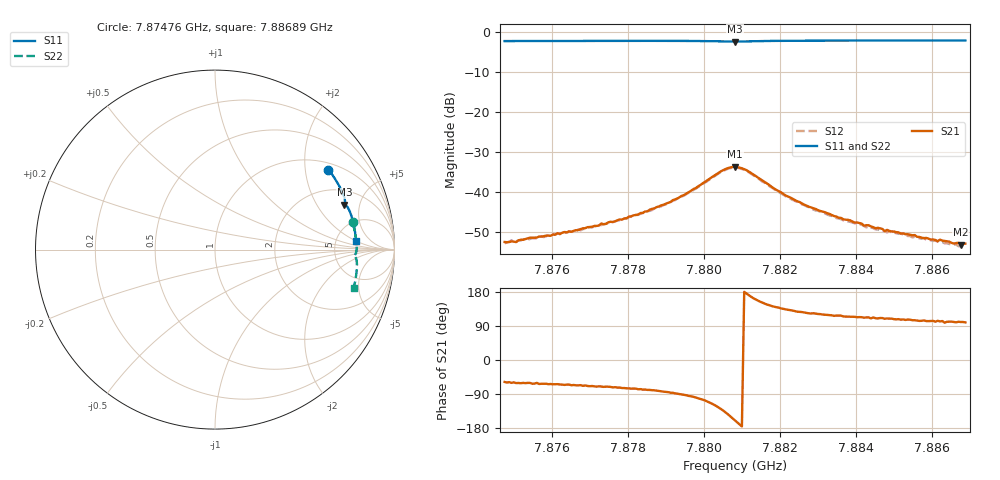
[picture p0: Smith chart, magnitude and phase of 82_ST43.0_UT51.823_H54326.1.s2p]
#  HZ  S  DB  R  50.00
! Rohde & Schwarz Vector Network Analyzer
! Rohde-Schwarz,ZNB20-2Port,1311601062101988,3.16
! Created: UTC 1/12/2023, 6:35:17 PM
! freq[Hz]  db:S11  ang:S11  db:S21  ang:S21  db:S12  ang:S12  db:S22  ang:S22
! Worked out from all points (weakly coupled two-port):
!   201 points, 7.87476 GHz to 7.88689 GHz, reference 50 ohm
!   highest |S21| = -33.69 dB at 7.88082 GHz (marker M1); lowest = -53.2 dB at 7.88677 GHz (marker M2)
!   lowest |S11| = -2.4 dB at 7.88082 GHz (marker M3), VSWR 7.44, Z = 148 + j178 ohm
!   |S11| at or under -10 dB: nowhere
!   |S22| runs from -2.2 to -1.9 dB; largest |S21 - S12| = 0.0014
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7.874758e9  -2.23 35.2  -52.49 -57.9  -52.83 -62.6  -2.14 11.2
7.87494e9  -2.23 34.7  -52.34 -60.4  -52.06 -60.7  -2.14 10.7
7.875061e9  -2.22 34.4  -52.52 -60.9  -52.30 -63.4  -2.14 10.4
7.875425e9  -2.22 33.4  -51.41 -60.4  -51.74 -65.0  -2.12 9.5
7.875971e9  -2.21 31.9  -50.95 -63.4  -50.76 -65.6  -2.11 8.3
7.87682e9  -2.20 29.6  -49.08 -68.1  -49.25 -70.2  -2.09 6.3
7.877851e9  -2.18 26.8  -46.91 -74.0  -46.83 -77.8  -2.07 3.9
7.878822e9  -2.18 24.1  -43.60 -81.9  -43.76 -85.5  -2.05 1.6
7.879489e9  -2.19 22.1  -40.71 -92.0  -40.85 -95.8  -2.06 -0.1
7.880459e9  -2.30 19.6  -34.78 -129.7  -34.99 -133.2  -2.17 -2.3
7.880823e9  -2.35 19.2  -33.69 -159.3  -33.88 -163.1  -2.22 -2.5
7.881126e9  -2.31 18.9  -34.53 175.3  -34.75 171.8  -2.18 -2.6
7.882157e9  -2.16 16.3  -40.88 133.5  -41.08 129.9  -2.02 -4.7
7.882885e9  -2.13 14.3  -44.06 123.4  -44.37 118.7  -1.98 -6.5
7.88428e9  -2.11 10.5  -48.28 112.3  -48.83 108.2  -1.95 -9.6
7.884887e9  -2.10 8.9  -49.72 109.2  -49.87 105.3  -1.95 -11.0
7.886161e9  -2.08 5.5  -52.28 103.5  -52.46 99.6  -1.93 -13.8
7.886221e9  -2.08 5.4  -51.91 101.7  -52.46 100.1  -1.93 -13.9
7.886585e9  -2.08 4.4  -52.91 100.4  -53.09 97.9  -1.92 -14.7
7.886706e9  -2.08 4.1  -52.70 100.9  -53.54 98.1  -1.92 -14.9
7.886767e9  -2.08 4.0  -53.17 100.3  -53.52 97.9  -1.92 -15.1
7.886888e9  -2.08 3.6  -52.90 99.1  -53.53 97.1  -1.91 -15.3
